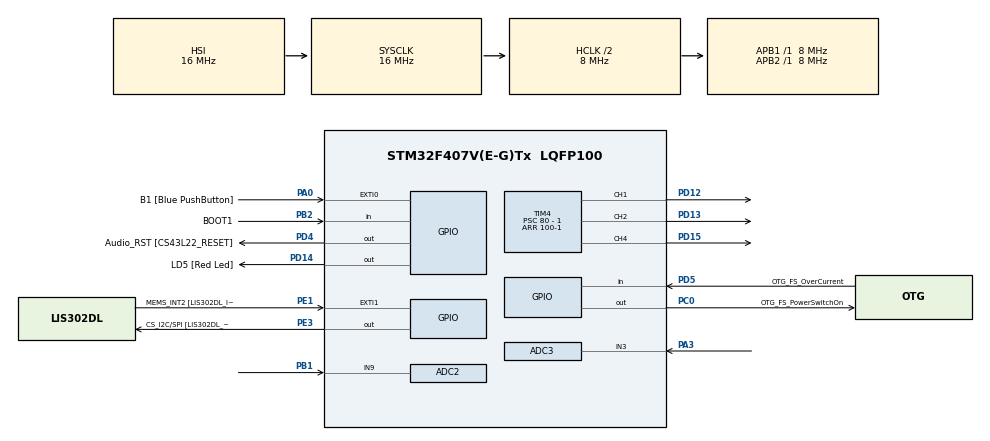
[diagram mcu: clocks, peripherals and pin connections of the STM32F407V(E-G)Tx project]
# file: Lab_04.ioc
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ADC1.Channel-0\#ChannelRegularConversion=ADC_CHANNEL_TEMPSENSOR
ADC1.ClockPrescaler=ADC_CLOCK_SYNC_PCLK_DIV8
ADC1.EnableAnalogWatchDog=false
ADC1.InjNumberOfConversion=0
ADC1.NbrOfConversion=1
ADC1.NbrOfConversionFlag=1
ADC1.Rank-0\#ChannelRegularConversion=1
ADC1.SamplingTime-0\#ChannelRegularConversion=ADC_SAMPLETIME_480CYCLES
ADC1.ScanConvMode=ENABLE
ADC1.master=1
ADC2.Channel-6\#ChannelRegularConversion=ADC_CHANNEL_9
ADC2.ClockPrescaler=ADC_CLOCK_SYNC_PCLK_DIV8
ADC2.EnableAnalogWatchDog=false
ADC2.NbrOfConversionFlag=1
ADC2.Rank-6\#ChannelRegularConversion=1
ADC2.SamplingTime-6\#ChannelRegularConversion=ADC_SAMPLETIME_480CYCLES
ADC3.Channel-2\#ChannelRegularConversion=ADC_CHANNEL_3
ADC3.ClockPrescaler=ADC_CLOCK_SYNC_PCLK_DIV8
ADC3.NbrOfConversionFlag=1
ADC3.Rank-2\#ChannelRegularConversion=1
ADC3.SamplingTime-2\#ChannelRegularConversion=ADC_SAMPLETIME_480CYCLES
Mcu.Family=STM32F4
Mcu.Name=STM32F407V(E-G)Tx
Mcu.Package=LQFP100
NVIC.PriorityGroup=NVIC_PRIORITYGROUP_0
NVIC.TIM6_DAC_IRQn=true\:0\:0\:false\:false\:true\:true\:true
PA0-WKUP.GPIO_Label=B1 [Blue PushButton]
PA0-WKUP.Signal=GPXTI0
PA10.GPIO_Label=OTG_FS_ID
PA10.GPIO_Mode=GPIO_MODE_AF_PP
PA10.GPIO_PuPd=GPIO_NOPULL
PA10.GPIO_Speed=GPIO_SPEED_FREQ_LOW
PA10.Signal=USB_OTG_FS_ID
PA11.GPIO_Label=OTG_FS_DM
PA11.GPIO_Mode=GPIO_MODE_AF_PP
PA11.GPIO_PuPd=GPIO_NOPULL
PA11.GPIO_Speed=GPIO_SPEED_FREQ_LOW
PA11.Signal=USB_OTG_FS_DM
PA12.GPIO_Label=OTG_FS_DP
PA12.GPIO_Mode=GPIO_MODE_AF_PP
PA12.GPIO_PuPd=GPIO_NOPULL
PA12.GPIO_Speed=GPIO_SPEED_FREQ_LOW
PA12.Signal=USB_OTG_FS_DP
PA13.GPIO_Label=SWDIO
PA13.Signal=SYS_JTMS-SWDIO
PA14.GPIO_Label=SWCLK
PA14.Signal=SYS_JTCK-SWCLK
PA3.Signal=ADCx_IN3
PA4.GPIO_Label=I2S3_WS [CS43L22_LRCK]
PA4.GPIO_Mode=GPIO_MODE_AF_PP
PA4.GPIO_PuPd=GPIO_NOPULL
PA4.GPIO_Speed=GPIO_SPEED_FREQ_LOW
PA4.Signal=I2S3_WS
PA5.GPIO_Label=SPI1_SCK [LIS302DL_SCL/SPC]
PA5.GPIO_Mode=GPIO_MODE_AF_PP
PA5.GPIO_PuPd=GPIO_NOPULL
PA5.GPIO_Speed=GPIO_SPEED_FREQ_LOW
PA5.Signal=SPI1_SCK
PA6.GPIO_Label=SPI1_MISO [LIS302DL_SDO]
PA6.GPIO_Mode=GPIO_MODE_AF_PP
PA6.GPIO_PuPd=GPIO_NOPULL
PA6.GPIO_Speed=GPIO_SPEED_FREQ_LOW
PA6.Signal=SPI1_MISO
PA7.GPIO_Label=SPI1_MOSI [LIS302DL_SDA/SDI/SDO]
PA7.GPIO_Mode=GPIO_MODE_AF_PP
PA7.GPIO_PuPd=GPIO_NOPULL
PA7.GPIO_Speed=GPIO_SPEED_FREQ_LOW
PA7.Signal=SPI1_MOSI
PA9.GPIO_Label=VBUS_FS
PA9.GPIO_Mode=GPIO_MODE_INPUT
PA9.GPIO_PuPd=GPIO_NOPULL
PA9.Signal=USB_OTG_FS_VBUS
PB1.Signal=ADCx_IN9
PB10.GPIO_Label=CLK_IN [MP45DT02_CLK]
PB10.GPIO_Mode=GPIO_MODE_AF_PP
PB10.GPIO_PuPd=GPIO_NOPULL
PB10.GPIO_Speed=GPIO_SPEED_FREQ_LOW
PB10.Signal=I2S2_CK
PB2.GPIO_Label=BOOT1
PB2.GPIO_Mode=GPIO_MODE_INPUT
PB2.GPIO_PuPd=GPIO_NOPULL
PB2.Signal=GPIO_Input
PB3.GPIO_Label=SWO
PB3.Signal=SYS_JTDO-SWO
PB6.GPIO_Label=Audio_SCL [CS43L22_SCL]
PB6.GPIO_Mode=GPIO_MODE_AF_OD
PB6.GPIO_PuPd=GPIO_NOPULL
PB6.GPIO_Speed=GPIO_SPEED_FREQ_LOW
PB6.Signal=I2C1_SCL
PB9.GPIO_Label=Audio_SDA [CS43L22_SDA]
PB9.GPIO_Mode=GPIO_MODE_AF_OD
PB9.GPIO_PuPd=GPIO_NOPULL
PB9.GPIO_Speed=GPIO_SPEED_FREQ_LOW
PB9.Signal=I2C1_SDA
PC0.GPIO_Label=OTG_FS_PowerSwitchOn
PC0.GPIO_PuPd=GPIO_NOPULL
PC0.GPIO_Speed=GPIO_SPEED_FREQ_LOW
PC0.PinState=GPIO_PIN_SET
PC0.Signal=GPIO_Output
PC10.GPIO_Label=I2S3_SCK [CS43L22_SCLK]
PC10.GPIO_Mode=GPIO_MODE_AF_PP
PC10.GPIO_PuPd=GPIO_NOPULL
PC10.GPIO_Speed=GPIO_SPEED_FREQ_LOW
PC10.Signal=I2S3_CK
PC12.GPIO_Label=I2S3_SD [CS43L22_SDIN]
PC12.GPIO_Mode=GPIO_MODE_AF_PP
PC12.GPIO_PuPd=GPIO_NOPULL
PC12.GPIO_Speed=GPIO_SPEED_FREQ_LOW
PC12.Signal=I2S3_SD
PC14-OSC32_IN.GPIO_Label=PC14-OSC32_IN
PC14-OSC32_IN.Signal=RCC_OSC32_IN
PC15-OSC32_OUT.GPIO_Label=PC15-OSC32_OUT
PC15-OSC32_OUT.Signal=RCC_OSC32_OUT
PC3.GPIO_Label=PDM_OUT [MP45DT02_DOUT]
PC3.GPIO_Mode=GPIO_MODE_AF_PP
PC3.GPIO_PuPd=GPIO_NOPULL
PC3.GPIO_Speed=GPIO_SPEED_FREQ_LOW
PC3.Signal=I2S2_SD
PC7.GPIO_Label=I2S3_MCK [CS43L22_MCLK]
PC7.GPIO_Mode=GPIO_MODE_AF_PP
PC7.GPIO_PuPd=GPIO_NOPULL
PC7.GPIO_Speed=GPIO_SPEED_FREQ_LOW
PC7.Signal=I2S3_MCK
PD12.Signal=S_TIM4_CH1
PD13.Signal=S_TIM4_CH2
PD14.GPIO_Label=LD5 [Red Led]
PD14.GPIO_PuPd=GPIO_NOPULL
PD14.GPIO_Speed=GPIO_SPEED_FREQ_LOW
PD14.Signal=GPIO_Output
PD15.Signal=S_TIM4_CH4
PD4.GPIO_Label=Audio_RST [CS43L22_RESET]
PD4.GPIO_PuPd=GPIO_NOPULL
PD4.GPIO_Speed=GPIO_SPEED_FREQ_LOW
PD4.Signal=GPIO_Output
PD5.GPIO_Label=OTG_FS_OverCurrent
PD5.GPIO_Mode=GPIO_MODE_INPUT
PD5.GPIO_PuPd=GPIO_NOPULL
PD5.Signal=GPIO_Input
PE1.GPIO_Label=MEMS_INT2 [LIS302DL_INT2]
PE1.GPIO_ModeDefaultEXTI=GPIO_MODE_EVT_RISING
PE1.GPIO_PuPd=GPIO_NOPULL
PE1.Signal=GPXTI1
PE3.GPIO_Label=CS_I2C/SPI [LIS302DL_CS_I2C/SPI]
PE3.GPIO_PuPd=GPIO_NOPULL
PE3.GPIO_Speed=GPIO_SPEED_FREQ_LOW
PE3.Signal=GPIO_Output
PH0-OSC_IN.GPIO_Label=PH0-OSC_IN
PH0-OSC_IN.Signal=RCC_OSC_IN
PH1-OSC_OUT.GPIO_Label=PH1-OSC_OUT
PH1-OSC_OUT.Signal=RCC_OSC_OUT
ProjectManager.HeapSize=0x200
ProjectManager.StackSize=0x400
ProjectManager.TargetToolchain=STM32CubeIDE
RCC.48MHZClocksFreq_Value=14285714.285714285
RCC.AHBCLKDivider=RCC_SYSCLK_DIV2
RCC.AHBFreq_Value=8000000
RCC.APB1Freq_Value=8000000
RCC.APB1TimFreq_Value=8000000
RCC.APB2Freq_Value=8000000
RCC.APB2TimFreq_Value=8000000
RCC.CortexFreq_Value=8000000
RCC.HCLKFreq_Value=8000000
RCC.HSE_VALUE=8000000
RCC.HSI_VALUE=16000000
RCC.LSE_VALUE=32768
RCC.PLLM=8
RCC.PLLN=50
RCC.PLLP=RCC_PLLP_DIV4
RCC.PLLQ=7
RCC.SYSCLKFreq_VALUE=16000000
RCC.VCOOutputFreq_Value=100000000
SH.ADCx_IN3.0=ADC3_IN3,IN3
SH.ADCx_IN9.0=ADC2_IN9,IN9
SH.S_TIM4_CH1.0=TIM4_CH1,PWM Generation1 CH1
SH.S_TIM4_CH2.0=TIM4_CH2,PWM Generation2 CH2
SH.S_TIM4_CH4.0=TIM4_CH4,PWM Generation4 CH4
TIM4.Channel-PWM\ Generation1\ CH1=TIM_CHANNEL_1
TIM4.Channel-PWM\ Generation2\ CH2=TIM_CHANNEL_2
TIM4.Channel-PWM\ Generation4\ CH4=TIM_CHANNEL_4
TIM4.Period=100-1
TIM4.Prescaler=80 - 1
TIM4.Pulse-PWM\ Generation4\ CH4=100
TIM6.Period=0
TIM6.Prescaler=8000 - 1
VP_ADC1_TempSens_Input.Mode=IN-TempSens
VP_TIM6_VS_ClockSourceINT.Mode=Enable_Timer
board=STM32F407G-DISC1

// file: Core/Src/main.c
/* USER CODE BEGIN Header */
/**
  ******************************************************************************
  * @file           : main.c
  * @brief          : Main program body
  ******************************************************************************
  * @attention
  *
  * <h2><center>&copy; Copyright (c) 2021 STMicroelectronics.
  * All rights reserved.</center></h2>
  *
  * This software component is licensed by ST under BSD 3-Clause license,
  * the "License"; You may not use this file except in compliance with the
  * License. You may obtain a copy of the License at:
  *                        opensource.org/licenses/BSD-3-Clause
  *
  ******************************************************************************
  */
/* USER CODE END Header */
#include "main.h"
#include "adc.h"
#include "tim.h"
#include "gpio.h"

/* USER CODE BEGIN Includes */
#include <stdbool.h>
/* USER CODE END Includes */

/* USER CODE BEGIN PD */
#define ALERT_POT_PERC		80
#define ALERT_INT_TEMP		30
#define ALERT_EXT_TEMP		30
#define ALERT_LED_PORT		GPIOD
#define ALERT_LED_PIN		GPIO_PIN_14
/* USER CODE END PD */

/* USER CODE BEGIN PV */
static const uint32_t MIN_INT_T = -40;
static const uint32_t MAX_INT_T = 125;
static const uint32_t RANGE_INT_T = MAX_INT_T - MIN_INT_T;
static const uint32_t INT_T_OFFSET = 25;
static const uint32_t INT_T_V25 = 760; //in mV

static const uint32_t MIN_EXT_T = -24;
static const uint32_t MAX_EXT_T = 100;
static const uint32_t RANGE_EXT_T = MAX_EXT_T - MIN_EXT_T;
static const uint32_t EXT_T_ADC_0C = 2507;

static const uint32_t AVG_SLOPE = 25;

static const uint32_t alert_blink_intervals[] = {500 - 1, 200 - 1, 100 - 1}; // ms between LED toggles

static uint32_t potentiometer_level = 0;
static int32_t internal_temperature = 0;
static int32_t external_temperature = 0;

static bool potentiometer_alert = 0;
static bool internal_temp_alert = 0;
static bool external_temp_alert = 0;

static bool alert_led_on = 0;

/* USER CODE END PV */

void SystemClock_Config(void);
/* USER CODE BEGIN PFP */
void Measure_Potentiometer(void);
void Measure_Internal_Temperature(void);
void Measure_External_Temperature(void);
void Check_Alerts(void);
static void Timer_Callback(TIM_HandleTypeDef *htim);
/* USER CODE END PFP */

int main(void)
{

  /* MCU Configuration--------------------------------------------------------*/

  /* Reset of all peripherals, Initializes the Flash interface and the Systick. */
  HAL_Init();

  /* Configure the system clock */
  SystemClock_Config();

  /* Initialize all configured peripherals */
  MX_GPIO_Init();
  MX_ADC1_Init();
  MX_TIM4_Init();
  MX_TIM6_Init();
  MX_ADC2_Init();
  MX_ADC3_Init();
  /* USER CODE BEGIN 2 */
  HAL_TIM_PWM_Start(&htim4, TIM_CHANNEL_1);
  HAL_TIM_PWM_Start(&htim4, TIM_CHANNEL_2);
  HAL_TIM_PWM_Start(&htim4, TIM_CHANNEL_4);
  htim6.PeriodElapsedCallback = Timer_Callback;
  HAL_TIM_Base_Start_IT(&htim6);
  /* USER CODE END 2 */

  /* Infinite loop */
  /* USER CODE BEGIN WHILE */
  while (1)
  {
	  Measure_Potentiometer();
	  Measure_Internal_Temperature();
	  Measure_External_Temperature();
	  Check_Alerts();
//	  HAL_Delay(500);
    /* USER CODE END WHILE */

  }
}

void SystemClock_Config(void)
{
  RCC_OscInitTypeDef RCC_OscInitStruct = {0};
  RCC_ClkInitTypeDef RCC_ClkInitStruct = {0};

  /** Configure the main internal regulator output voltage
  */
  __HAL_RCC_PWR_CLK_ENABLE();
  __HAL_PWR_VOLTAGESCALING_CONFIG(PWR_REGULATOR_VOLTAGE_SCALE1);
  /** Initializes the RCC Oscillators according to the specified parameters
  * in the RCC_OscInitTypeDef structure.
  */
  RCC_OscInitStruct.OscillatorType = RCC_OSCILLATORTYPE_HSI;
  RCC_OscInitStruct.HSIState = RCC_HSI_ON;
  RCC_OscInitStruct.HSICalibrationValue = RCC_HSICALIBRATION_DEFAULT;
  RCC_OscInitStruct.PLL.PLLState = RCC_PLL_NONE;
  if (HAL_RCC_OscConfig(&RCC_OscInitStruct) != HAL_OK)
  {
    Error_Handler();
  }
  /** Initializes the CPU, AHB and APB buses clocks
  */
  RCC_ClkInitStruct.ClockType = RCC_CLOCKTYPE_HCLK|RCC_CLOCKTYPE_SYSCLK
                              |RCC_CLOCKTYPE_PCLK1|RCC_CLOCKTYPE_PCLK2;
  RCC_ClkInitStruct.SYSCLKSource = RCC_SYSCLKSOURCE_HSI;
  RCC_ClkInitStruct.AHBCLKDivider = RCC_SYSCLK_DIV2;
  RCC_ClkInitStruct.APB1CLKDivider = RCC_HCLK_DIV1;
  RCC_ClkInitStruct.APB2CLKDivider = RCC_HCLK_DIV1;

  if (HAL_RCC_ClockConfig(&RCC_ClkInitStruct, FLASH_LATENCY_0) != HAL_OK)
  {
    Error_Handler();
  }
}

/* USER CODE BEGIN 4 */

void Measure_Potentiometer(void)
{
	HAL_StatusTypeDef dac_poll_result;
	uint32_t adc_value;

	HAL_ADC_Start(&hadc3);
	dac_poll_result = HAL_ADC_PollForConversion(&hadc3, 100);
	if (dac_poll_result == HAL_OK)
	{
		adc_value = HAL_ADC_GetValue(&hadc3);
		potentiometer_level = adc_value * 100 / 4096; //in percent
		TIM4->CCR4 = potentiometer_level;
		potentiometer_alert = potentiometer_level >= ALERT_POT_PERC;
	}
}

void Measure_Internal_Temperature(void)
{
	HAL_StatusTypeDef dac_poll_result;
	uint32_t adc_value;
	uint32_t voltage;

	HAL_ADC_Start(&hadc1);
	dac_poll_result = HAL_ADC_PollForConversion(&hadc1, 100);
	if (dac_poll_result == HAL_OK)
	{
		adc_value = HAL_ADC_GetValue(&hadc1);
		voltage = 3300 * adc_value / 4096; // in mV
		internal_temperature = (voltage - INT_T_V25) / AVG_SLOPE + INT_T_OFFSET;
		TIM4->CCR2 = (internal_temperature - MIN_INT_T) * 100 / RANGE_INT_T;
		internal_temp_alert = internal_temperature >= ALERT_INT_TEMP;
	}
}

void Measure_External_Temperature(void)
{
	HAL_StatusTypeDef dac_poll_result;
	uint32_t adc_value;

	HAL_ADC_Start(&hadc2);
	dac_poll_result = HAL_ADC_PollForConversion(&hadc2, 100);
	if (dac_poll_result == HAL_OK)
	{
		adc_value = HAL_ADC_GetValue(&hadc2);
		external_temperature = (EXT_T_ADC_0C - adc_value) / AVG_SLOPE;
		TIM4->CCR1 = (external_temperature - MIN_EXT_T) * 100 / RANGE_EXT_T;
		external_temp_alert = external_temperature >= ALERT_EXT_TEMP;
	}
}

void Check_Alerts(void)
{
	static uint8_t prev_lvl = 0;
	uint8_t cur_lvl = potentiometer_alert + internal_temp_alert + external_temp_alert;
	static uint32_t debounceCounter = 0;

	if (cur_lvl != prev_lvl)
	{
		debounceCounter++;
	}
	else
	{
		debounceCounter = 0;
	}

	if (debounceCounter > 100)
	{
		debounceCounter = 0;
		TIM6->ARR = alert_blink_intervals[cur_lvl - 1];
		TIM6->CNT = 0;
		prev_lvl = cur_lvl;
		alert_led_on = cur_lvl > 0 ? true : false;
		HAL_GPIO_WritePin(ALERT_LED_PORT, ALERT_LED_PIN, GPIO_PIN_RESET);
	}
}

static void Timer_Callback(TIM_HandleTypeDef *htim)
{
	if (htim == &htim6) {
		if (alert_led_on)
		{
			HAL_GPIO_TogglePin(ALERT_LED_PORT, ALERT_LED_PIN);
		}
	}
}

/* USER CODE END 4 */

void Error_Handler(void)
{
  __disable_irq();
  while (1)
  {
  }
}

/************************ (C) COPYRIGHT STMicroelectronics *****END OF FILE****/
